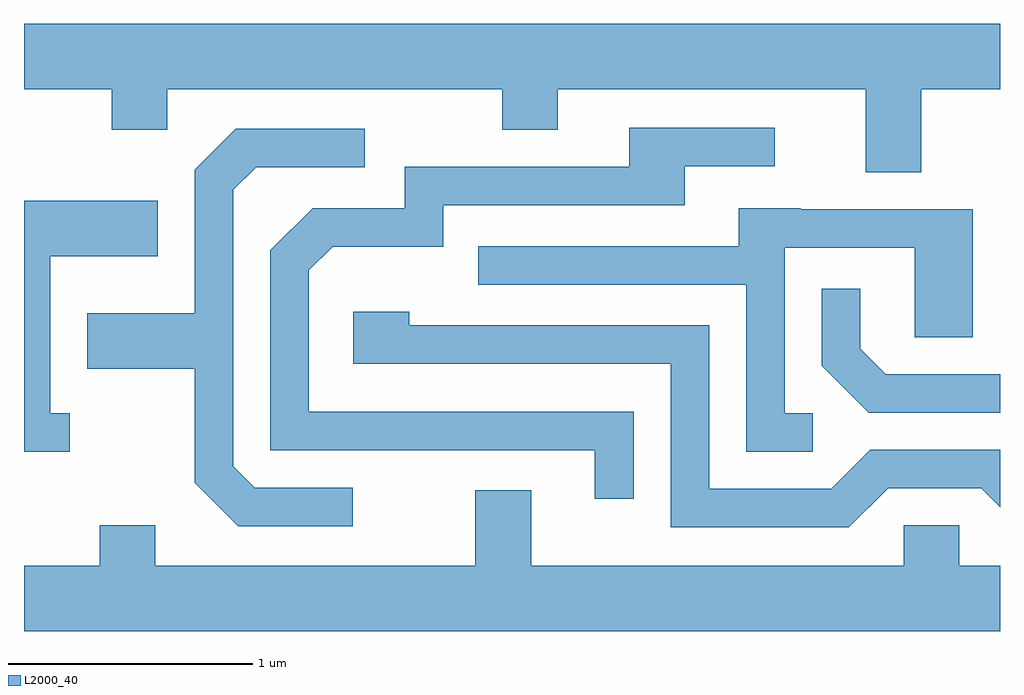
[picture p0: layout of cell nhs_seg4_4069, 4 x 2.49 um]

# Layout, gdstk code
import gdstk
lib = gdstk.Library(unit=1e-6, precision=1e-09)
def P(c, l, *ps):  # polygons
    for p in ps: c.add(gdstk.Polygon(p, *l))
L2000_40 = (2000, 40)

nhs_seg4_4069 = lib.new_cell('nhs_seg4_4069')
P(nhs_seg4_4069, L2000_40, [(307.289,1370.216),(307.611,1370.216),(307.611,1370.484),(303.611,1370.484),(303.611,1370.216),(303.971,1370.216),(303.971,1370.051),(304.199,1370.051),(304.199,1370.216),(305.571,1370.216),(305.571,1370.051),(305.799,1370.051),(305.799,1370.216),(307.061,1370.216),(307.061,1369.876),(307.289,1369.876)],
  [(306.109,1368.894),(304.779,1368.894),(304.779,1369.474),(304.877,1369.571),(305.329,1369.571),(305.329,1369.741),(306.319,1369.741),(306.319,1369.901),(306.688,1369.901),(306.688,1370.059),(306.091,1370.059),(306.091,1369.899),(305.171,1369.899),(305.171,1369.729),(304.794,1369.729),(304.621,1369.557),(304.621,1368.736),(305.951,1368.736),(305.951,1368.538),(306.109,1368.538)],
  [(304.958,1368.584),(304.557,1368.584),(304.469,1368.672),(304.469,1369.804),(304.562,1369.896),(305.008,1369.896),(305.008,1370.054),(304.479,1370.054),(304.311,1369.887),(304.311,1369.299),(303.871,1369.299),(303.871,1369.071),(304.311,1369.071),(304.311,1368.604),(304.489,1368.426),(304.958,1368.426)],
  [(303.798,1368.889),(303.719,1368.889),(303.719,1369.531),(304.159,1369.531),(304.159,1369.759),(303.611,1369.759),(303.611,1368.731),(303.798,1368.731)],
  [(306.843,1368.889),(306.729,1368.889),(306.729,1369.566),(307.261,1369.566),(307.261,1369.201),(307.499,1369.201),(307.499,1369.724),(306.795,1369.724),(306.795,1369.729),(306.541,1369.729),(306.541,1369.574),(305.473,1369.574),(305.473,1369.416),(306.571,1369.416),(306.571,1368.731),(306.843,1368.731)],
  [(307.611,1369.049),(307.142,1369.049),(307.039,1369.152),(307.039,1369.398),(306.881,1369.398),(306.881,1369.084),(307.074,1368.891),(307.611,1368.891)],
  [(307.152,1368.581),(307.534,1368.581),(307.611,1368.504),(307.611,1368.739),(307.079,1368.739),(306.919,1368.579),(306.419,1368.579),(306.419,1369.249),(305.189,1369.249),(305.189,1369.304),(304.961,1369.304),(304.961,1369.091),(306.261,1369.091),(306.261,1368.421),(306.992,1368.421)],
  [(303.921,1368.429),(303.921,1368.264),(303.611,1368.264),(303.611,1367.996),(307.611,1367.996),(307.611,1368.264),(307.444,1368.264),(307.444,1368.429),(307.216,1368.429),(307.216,1368.264),(305.689,1368.264),(305.689,1368.574),(305.461,1368.574),(305.461,1368.264),(304.149,1368.264),(304.149,1368.429)])

lib.write_gds('nhs_seg4_4069.gds')
